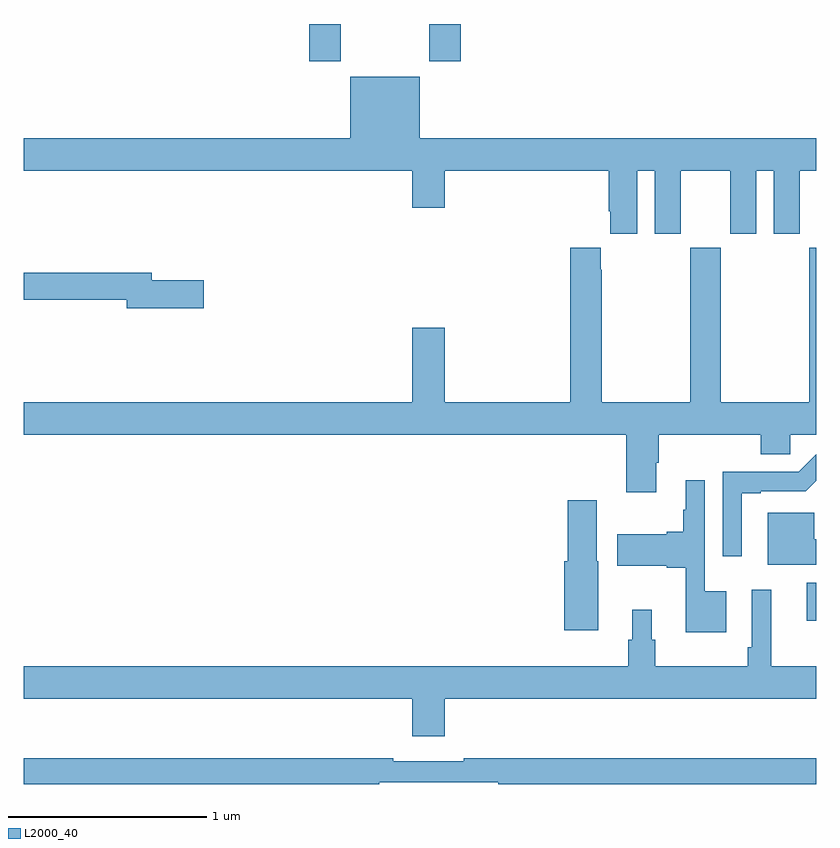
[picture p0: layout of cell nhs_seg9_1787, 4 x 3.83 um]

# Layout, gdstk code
import gdstk
lib = gdstk.Library(unit=1e-6, precision=1e-09)
def R(c, l, rs):  # rectangles x0, y0, x1, y1
    for r in rs: c.add(gdstk.rectangle(r[:2], r[2:], *l))
def P(c, l, *ps):  # polygons
    for p in ps: c.add(gdstk.Polygon(p, *l))
L2000_40 = (2000, 40)

nhs_seg9_1787 = lib.new_cell('nhs_seg9_1787')
R(nhs_seg9_1787, L2000_40, [(214.952,1187.49,215,1187.682), (212.441,1190.313,212.601,1190.5), (213.046,1190.313,213.206,1190.5)])
P(nhs_seg9_1787, L2000_40, [(212.998,1190.233),(212.648,1190.233),(212.648,1189.924),(211,1189.924),(211,1189.76),(212.96,1189.76),(212.96,1189.572),(213.124,1189.572),(213.124,1189.76),(213.953,1189.76),(213.953,1189.555),(213.959,1189.555),(213.959,1189.443),(214.096,1189.443),(214.096,1189.76),(214.184,1189.76),(214.184,1189.443),(214.315,1189.443),(214.315,1189.76),(214.565,1189.76),(214.565,1189.443),(214.696,1189.443),(214.696,1189.76),(214.784,1189.76),(214.784,1189.443),(214.915,1189.443),(214.915,1189.76),(215,1189.76),(215,1189.924),(212.998,1189.924)],
  [(212.96,1188.967),(212.96,1188.592),(211,1188.592),(211,1188.428),(214.04,1188.428),(214.04,1188.138),(214.192,1188.138),(214.192,1188.286),(214.205,1188.286),(214.205,1188.428),(214.718,1188.428),(214.718,1188.33),(214.869,1188.33),(214.869,1188.428),(215,1188.428),(215,1189.372),(214.963,1189.372),(214.963,1188.592),(214.518,1188.592),(214.518,1189.372),(214.363,1189.372),(214.363,1188.592),(213.918,1188.592),(213.918,1189.259),(213.913,1189.259),(213.913,1189.372),(213.758,1189.372),(213.758,1188.592),(213.124,1188.592),(213.124,1188.967)],
  [(211.909,1189.208),(211.648,1189.208),(211.648,1189.244),(211,1189.244),(211,1189.108),(211.52,1189.108),(211.52,1189.066),(211.909,1189.066)],
  [(214.624,1188.132),(214.72,1188.132),(214.72,1188.144),(214.947,1188.144),(215,1188.197),(215,1188.329),(214.911,1188.24),(214.527,1188.24),(214.527,1187.814),(214.624,1187.814)],
  [(214.546,1187.638),(214.437,1187.638),(214.437,1188.199),(214.34,1188.199),(214.34,1188.05),(214.329,1188.05),(214.329,1187.939),(214.244,1187.939),(214.244,1187.926),(213.996,1187.926),(213.996,1187.768),(214.244,1187.768),(214.244,1187.756),(214.34,1187.756),(214.34,1187.432),(214.546,1187.432)],
  [(213.898,1187.79),(213.892,1187.79),(213.892,1188.097),(213.746,1188.097),(213.746,1187.79),(213.728,1187.79),(213.728,1187.442),(213.898,1187.442)],
  [(215,1187.901),(214.99,1187.901),(214.99,1188.034),(214.754,1188.034),(214.754,1187.771),(215,1187.771)],
  [(213.124,1187.096),(215,1187.096),(215,1187.26),(214.772,1187.26),(214.772,1187.647),(214.674,1187.647),(214.674,1187.356),(214.654,1187.356),(214.654,1187.26),(214.187,1187.26),(214.187,1187.394),(214.168,1187.394),(214.168,1187.545),(214.07,1187.545),(214.07,1187.394),(214.051,1187.394),(214.051,1187.26),(211,1187.26),(211,1187.096),(212.96,1187.096),(212.96,1186.908),(213.124,1186.908)],
  [(212.794,1186.674),(213.394,1186.674),(213.394,1186.666),(215,1186.666),(215,1186.795),(213.22,1186.795),(213.22,1186.782),(212.864,1186.782),(212.864,1186.795),(211,1186.795),(211,1186.666),(212.794,1186.666)])

lib.write_gds('nhs_seg9_1787.gds')
